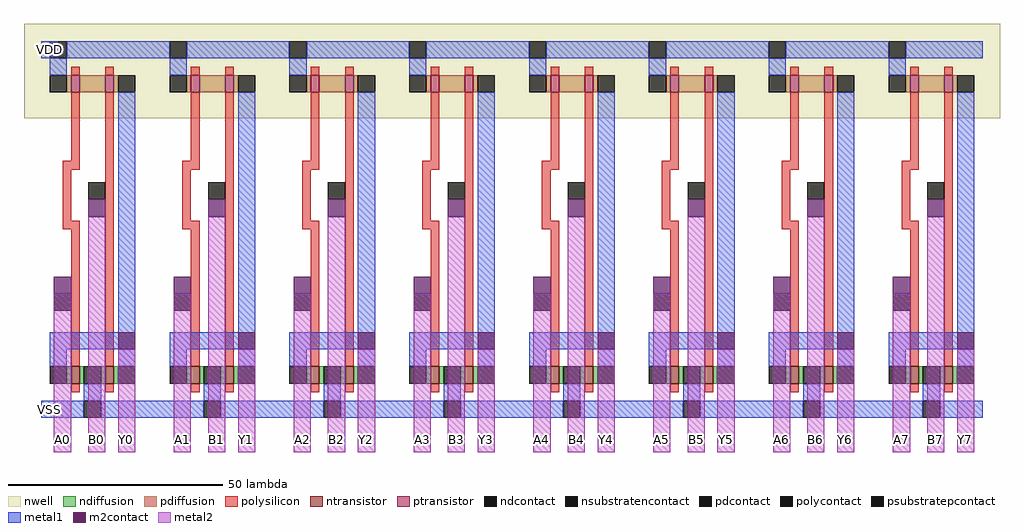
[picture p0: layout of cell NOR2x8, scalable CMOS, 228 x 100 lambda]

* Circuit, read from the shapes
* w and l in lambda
.subckt NOR2x8 A0 A1 A2 A3 A4 A5 A6 A7 B0 B1 B2 B3 B4 B5 B6 B7 VDD VSS Y0 Y1 Y2 Y3 Y4 Y5 Y6 Y7
M1 VSS A0 Y0 VSS nfet w=4 l=2
M2 Y0 B0 VSS VSS nfet w=4 l=2
M3 VSS A1 Y1 VSS nfet w=4 l=2
M4 Y1 B1 VSS VSS nfet w=4 l=2
M5 VSS A2 Y2 VSS nfet w=4 l=2
M6 Y2 B2 VSS VSS nfet w=4 l=2
M7 VSS A3 Y3 VSS nfet w=4 l=2
M8 Y3 B3 VSS VSS nfet w=4 l=2
M9 VSS A4 Y4 VSS nfet w=4 l=2
M10 Y4 B4 VSS VSS nfet w=4 l=2
M11 VSS A5 Y5 VSS nfet w=4 l=2
M12 Y5 B5 VSS VSS nfet w=4 l=2
M13 VSS A6 Y6 VSS nfet w=4 l=2
M14 Y6 B6 VSS VSS nfet w=4 l=2
M15 VSS A7 Y7 VSS nfet w=4 l=2
M16 Y7 B7 VSS VSS nfet w=4 l=2
M17 n1 A0 VDD VDD pfet w=4 l=2
M18 Y0 B0 n1 VDD pfet w=4 l=2
M19 n2 A1 VDD VDD pfet w=4 l=2
M20 Y1 B1 n2 VDD pfet w=4 l=2
M21 n3 A2 VDD VDD pfet w=4 l=2
M22 Y2 B2 n3 VDD pfet w=4 l=2
M23 n4 A3 VDD VDD pfet w=4 l=2
M24 Y3 B3 n4 VDD pfet w=4 l=2
M25 n5 A4 VDD VDD pfet w=4 l=2
M26 Y4 B4 n5 VDD pfet w=4 l=2
M27 n6 A5 VDD VDD pfet w=4 l=2
M28 Y5 B5 n6 VDD pfet w=4 l=2
M29 n7 A6 VDD VDD pfet w=4 l=2
M30 Y6 B6 n7 VDD pfet w=4 l=2
M31 n8 A7 VDD VDD pfet w=4 l=2
M32 Y7 B7 n8 VDD pfet w=4 l=2
.ends

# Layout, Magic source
magic
tech scmos
<< metal1 >>
rect 4 84 8 88
rect 28 84 32 88
rect 56 84 60 88
rect 84 84 88 88
rect 112 84 116 88
rect 140 84 144 88
rect 168 84 172 88
rect 196 84 200 88
rect 4 0 8 4
rect 28 0 32 4
rect 56 0 60 4
rect 84 0 88 4
rect 112 0 116 4
rect 140 0 144 4
rect 168 0 172 4
rect 196 0 200 4
<< m2contact >>
rect 15 47 19 51
rect 43 47 47 51
rect 71 47 75 51
rect 99 47 103 51
rect 127 47 131 51
rect 155 47 159 51
rect 183 47 187 51
rect 211 47 215 51
rect 7 29 11 33
rect 35 29 39 33
rect 63 29 67 33
rect 91 29 95 33
rect 119 29 123 33
rect 147 29 151 33
rect 175 29 179 33
rect 203 29 207 33
rect 22 16 26 20
rect 50 16 54 20
rect 78 16 82 20
rect 106 16 110 20
rect 134 16 138 20
rect 162 16 166 20
rect 190 16 194 20
rect 218 16 222 20
<< metal2 >>
rect 7 -8 11 29
rect 15 -8 19 47
rect 22 -8 26 16
rect 35 -8 39 29
rect 43 -8 47 47
rect 50 -8 54 16
rect 63 -8 67 29
rect 71 -8 75 47
rect 78 -8 82 16
rect 91 -8 95 29
rect 99 -8 103 47
rect 106 -8 110 16
rect 119 -8 123 29
rect 127 -8 131 47
rect 134 -8 138 16
rect 147 -8 151 29
rect 155 -8 159 47
rect 162 -8 166 16
rect 175 -8 179 29
rect 183 -8 187 47
rect 190 -8 194 16
rect 203 -8 207 29
rect 211 -8 215 47
rect 218 -8 222 16
use NOR2  NOR2_7
transform 1 0 172 0 1 0
box -4 0 28 92
use NOR2  NOR2_6
transform 1 0 144 0 1 0
box -4 0 28 92
use NOR2  NOR2_5
transform 1 0 116 0 1 0
box -4 0 28 92
use NOR2  NOR2_4
transform 1 0 88 0 1 0
box -4 0 28 92
use NOR2  NOR2_3
transform 1 0 60 0 1 0
box -4 0 28 92
use NOR2  NOR2_2
transform 1 0 32 0 1 0
box -4 0 28 92
use NOR2  NOR2_1
transform 1 0 4 0 1 0
box -4 0 28 92
use NOR2  NOR2_0
transform 1 0 200 0 1 0
box -4 0 28 92
<< labels >>
rlabel metal1 6 86 6 86 1 VDD
rlabel metal1 6 2 6 2 1 VSS
rlabel metal2 9 -5 9 -5 1 A0
rlabel metal2 17 -5 17 -5 1 B0
rlabel metal2 24 -5 24 -5 1 Y0
rlabel metal2 37 -5 37 -5 1 A1
rlabel metal2 45 -5 45 -5 1 B1
rlabel metal2 52 -5 52 -5 1 Y1
rlabel metal2 65 -5 65 -5 1 A2
rlabel metal2 73 -5 73 -5 1 B2
rlabel metal2 80 -5 80 -5 1 Y2
rlabel metal2 93 -5 93 -5 1 A3
rlabel metal2 101 -5 101 -5 1 B3
rlabel metal2 108 -5 108 -5 1 Y3
rlabel metal2 121 -5 121 -5 1 A4
rlabel metal2 129 -5 129 -5 1 B4
rlabel metal2 136 -5 136 -5 1 Y4
rlabel metal2 149 -5 149 -5 1 A5
rlabel metal2 157 -5 157 -5 1 B5
rlabel metal2 164 -5 164 -5 1 Y5
rlabel metal2 177 -5 177 -5 1 A6
rlabel metal2 185 -5 185 -5 1 B6
rlabel metal2 192 -5 192 -5 1 Y6
rlabel metal2 205 -5 205 -5 1 A7
rlabel metal2 213 -5 213 -5 1 B7
rlabel metal2 220 -5 220 -5 1 Y7
<< end >>

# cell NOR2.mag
magic
tech scmos
<< nwell >>
rect -4 70 28 92
<< ntransistor >>
rect 7 8 9 12
rect 15 8 17 12
<< ptransistor >>
rect 7 76 9 80
rect 15 76 17 80
<< ndiffusion >>
rect 6 8 7 12
rect 9 8 10 12
rect 14 8 15 12
rect 17 8 18 12
<< pdiffusion >>
rect 6 76 7 80
rect 9 76 15 80
rect 17 76 18 80
<< ndcontact >>
rect 2 8 6 12
rect 10 8 14 12
rect 18 8 22 12
<< pdcontact >>
rect 2 76 6 80
rect 18 76 22 80
<< psubstratepcontact >>
rect 10 0 14 4
<< nsubstratencontact >>
rect 2 84 6 88
<< polysilicon >>
rect 7 80 9 82
rect 15 80 17 82
rect 7 60 9 76
rect 5 58 9 60
rect 5 46 7 58
rect 5 44 9 46
rect 7 12 9 44
rect 15 12 17 76
rect 7 6 9 8
rect 15 6 17 8
<< polycontact >>
rect 11 51 15 55
rect 3 25 7 29
<< metal1 >>
rect 0 84 2 88
rect 6 84 24 88
rect 2 80 6 84
rect 18 20 22 76
rect 2 16 22 20
rect 2 12 6 16
rect 18 12 22 16
rect 10 4 14 8
rect 0 0 10 4
rect 14 0 24 4
<< labels >>
rlabel nsubstratencontact 4 86 4 86 1 VDD
rlabel psubstratepcontact 12 2 12 2 1 VSS
rlabel polycontact 5 27 5 27 1 A
rlabel polycontact 13 53 13 53 1 B
rlabel metal1 20 40 20 40 1 Y
<< end >>
